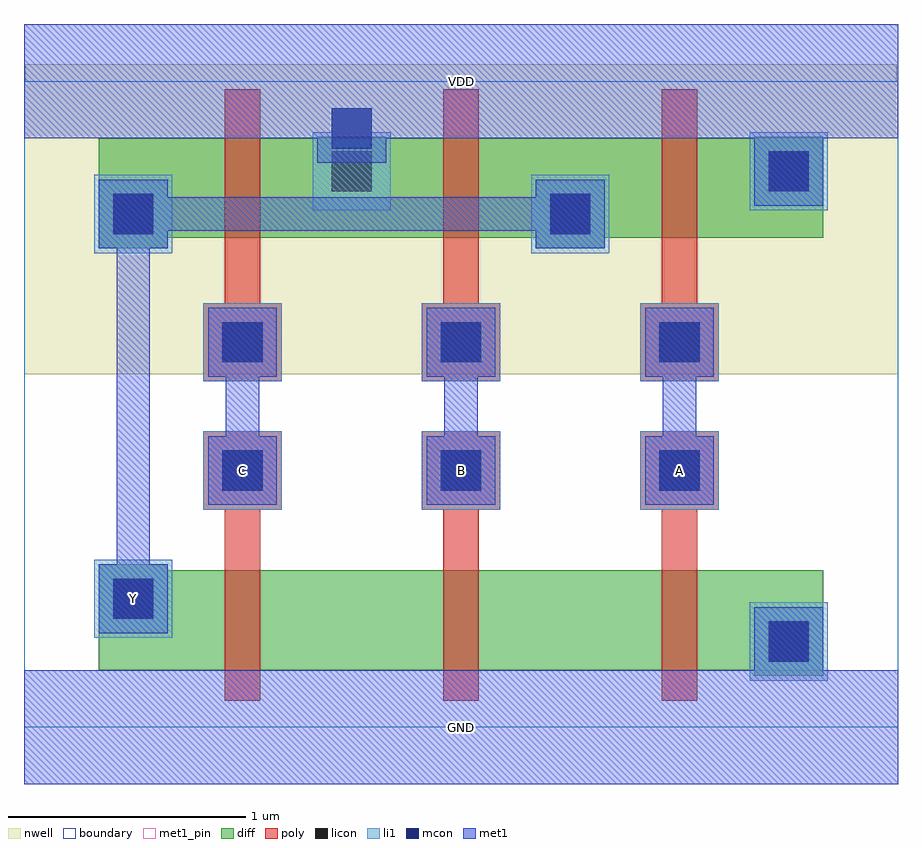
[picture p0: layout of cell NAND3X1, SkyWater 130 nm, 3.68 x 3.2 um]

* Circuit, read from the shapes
.subckt NAND3X1 A B C GND VDD Y
XM1 n1 C Y VSUBS sky130_fd_pr__nfet_01v8 w=0.42 l=0.15
XM2 n2 B n1 VSUBS sky130_fd_pr__nfet_01v8 w=0.42 l=0.15
XM3 GND A n2 VSUBS sky130_fd_pr__nfet_01v8 w=0.42 l=0.15
XM4 VDD C Y n3 sky130_fd_pr__pfet_01v8 w=0.42 l=0.15
XM5 Y B VDD n3 sky130_fd_pr__pfet_01v8 w=0.42 l=0.15
XM6 VDD A Y n3 sky130_fd_pr__pfet_01v8 w=0.42 l=0.15
.ends

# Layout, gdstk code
import gdstk
lib = gdstk.Library(unit=1e-6, precision=1e-09)
def R(c, l, rs):  # rectangles x0, y0, x1, y1
    for r in rs: c.add(gdstk.rectangle(r[:2], r[2:], *l))
def A(c, l, x, y, w, h, nx, ny, dx, dy):  # array of equal rectangles
    R(c, l, [(x+i*dx, y+j*dy, x+i*dx+w, y+j*dy+h) for i in range(nx) for j in range(ny)])
def P(c, l, *ps):  # polygons
    for p in ps: c.add(gdstk.Polygon(p, *l))
nwell = (64, 20)
diff = (65, 20)
poly = (66, 20)
licon = (66, 44)
li1 = (67, 20)
mcon = (67, 44)
met1_pin = (68, 16)
met1 = (68, 20)
boundary = (235, 4)

nand3x1 = lib.new_cell('NAND3X1')
P(nand3x1, nwell, [(0,1.485),(0,2.72),(0.005,2.72),(0.005,2.79),(3.675,2.79),(3.675,2.72),(3.68,2.72),(3.68,1.485)])
P(nand3x1, diff, [(3.075,0.215),(3.075,0.24),(0.315,0.24),(0.315,0.685),(0.605,0.685),(0.605,0.66),(3.365,0.66),(3.365,0.215)],
  [(0.315,2.015),(0.315,2.48),(1.235,2.48),(1.235,2.485),(1.525,2.485),(1.525,2.48),(3.075,2.48),(3.075,2.485),(3.365,2.485),(3.365,2.06),(2.445,2.06),(2.445,2.015),(2.155,2.015),(2.155,2.06),(0.605,2.06),(0.605,2.015)])
P(nand3x1, poly, [(0.845,0.11),(0.845,0.915),(0.755,0.915),(0.755,1.245),(1.085,1.245),(1.085,0.915),(0.995,0.915),(0.995,0.11)],
  [(1.765,0.11),(1.765,0.915),(1.675,0.915),(1.675,1.245),(2.005,1.245),(2.005,0.915),(1.915,0.915),(1.915,0.11)],
  [(2.685,0.11),(2.685,0.915),(2.595,0.915),(2.595,1.245),(2.925,1.245),(2.925,0.915),(2.835,0.915),(2.835,0.11)],
  [(0.755,1.455),(0.755,1.785),(0.845,1.785),(0.845,2.685),(0.995,2.685),(0.995,1.785),(1.085,1.785),(1.085,1.455)],
  [(1.675,1.455),(1.675,1.785),(1.765,1.785),(1.765,2.685),(1.915,2.685),(1.915,1.785),(2.005,1.785),(2.005,1.455)],
  [(2.595,1.455),(2.595,1.785),(2.685,1.785),(2.685,2.685),(2.835,2.685),(2.835,1.785),(2.925,1.785),(2.925,1.455)])
A(nand3x1, licon, 0.835, 0.995, 0.17, 0.17, 3, 2, 0.92, 0.54)
R(nand3x1, licon, [(3.135,0.275,3.305,0.445), (0.375,0.455,0.545,0.625), (0.375,2.075,0.545,2.245), (2.215,2.075,2.385,2.245), (1.295,2.255,1.465,2.425), (3.135,2.255,3.305,2.425)])
A(nand3x1, li1, 0.755, 0.915, 0.33, 0.33, 3, 2, 0.92, 0.54)
R(nand3x1, li1, [(3.055,0.195,3.385,0.525), (0.295,0.375,0.625,0.705), (0.295,1.995,0.625,2.325), (2.135,1.995,2.465,2.325), (3.055,2.175,3.385,2.505)])
P(nand3x1, li1, [(1.215,2.175),(1.215,2.505),(1.295,2.505),(1.295,2.605),(1.465,2.605),(1.465,2.505),(1.545,2.505),(1.545,2.175)])
A(nand3x1, mcon, 0.835, 0.995, 0.17, 0.17, 3, 2, 0.92, 0.54)
R(nand3x1, mcon, [(3.135,0.275,3.305,0.445), (0.375,0.455,0.545,0.625), (0.375,2.075,0.545,2.245), (2.215,2.075,2.385,2.245), (3.135,2.255,3.305,2.425), (1.295,2.435,1.465,2.605)])
R(nand3x1, met1_pin, [(0,-0.24,3.68,0.24), (0,2.48,3.68,2.96)])
P(nand3x1, met1_pin, [(0.315,0.395),(0.315,0.685),(0.39,0.685),(0.39,2.015),(0.315,2.015),(0.315,2.305),(0.605,2.305),(0.605,2.23),(2.155,2.23),(2.155,2.305),(2.445,2.305),(2.445,2.015),(2.155,2.015),(2.155,2.09),(0.605,2.09),(0.605,2.015),(0.53,2.015),(0.53,0.685),(0.605,0.685),(0.605,0.395)],
  [(1.695,0.935),(1.695,1.225),(1.77,1.225),(1.77,1.475),(1.695,1.475),(1.695,1.765),(1.985,1.765),(1.985,1.475),(1.91,1.475),(1.91,1.225),(1.985,1.225),(1.985,0.935)],
  [(2.615,0.935),(2.615,1.225),(2.69,1.225),(2.69,1.475),(2.615,1.475),(2.615,1.765),(2.905,1.765),(2.905,1.475),(2.83,1.475),(2.83,1.225),(2.905,1.225),(2.905,0.935)],
  [(0.775,0.935),(0.775,1.225),(0.85,1.225),(0.85,1.475),(0.775,1.475),(0.775,1.765),(1.065,1.765),(1.065,1.475),(0.99,1.475),(0.99,1.225),(1.065,1.225),(1.065,0.935)])
P(nand3x1, met1, [(0,-0.24),(0,0.24),(3.075,0.24),(3.075,0.505),(3.365,0.505),(3.365,0.24),(3.68,0.24),(3.68,-0.24)],
  [(0.775,0.935),(0.775,1.225),(0.85,1.225),(0.85,1.475),(0.775,1.475),(0.775,1.765),(1.065,1.765),(1.065,1.475),(0.99,1.475),(0.99,1.225),(1.065,1.225),(1.065,0.935)],
  [(1.695,0.935),(1.695,1.225),(1.77,1.225),(1.77,1.475),(1.695,1.475),(1.695,1.765),(1.985,1.765),(1.985,1.475),(1.91,1.475),(1.91,1.225),(1.985,1.225),(1.985,0.935)],
  [(2.615,0.935),(2.615,1.225),(2.69,1.225),(2.69,1.475),(2.615,1.475),(2.615,1.765),(2.905,1.765),(2.905,1.475),(2.83,1.475),(2.83,1.225),(2.905,1.225),(2.905,0.935)],
  [(0.315,0.395),(0.315,0.685),(0.39,0.685),(0.39,2.015),(0.315,2.015),(0.315,2.305),(0.605,2.305),(0.605,2.23),(2.155,2.23),(2.155,2.305),(2.445,2.305),(2.445,2.015),(2.155,2.015),(2.155,2.09),(0.605,2.09),(0.605,2.015),(0.53,2.015),(0.53,0.685),(0.605,0.685),(0.605,0.395)],
  [(3.075,2.195),(3.075,2.48),(1.525,2.48),(1.525,2.375),(1.235,2.375),(1.235,2.48),(0,2.48),(0,2.96),(3.68,2.96),(3.68,2.48),(3.365,2.48),(3.365,2.195)])
R(nand3x1, boundary, [(0,0,3.68,2.72)])
nand3x1.add(gdstk.Label('Y', (0.46,0.54), layer=68, texttype=5))
nand3x1.add(gdstk.Label('B', (1.84,1.08), layer=68, texttype=5))
nand3x1.add(gdstk.Label('A', (2.76,1.08), layer=68, texttype=5))
nand3x1.add(gdstk.Label('C', (0.92,1.08), layer=68, texttype=5))
nand3x1.add(gdstk.Label('GND', (1.84,0), layer=68, texttype=5))
nand3x1.add(gdstk.Label('VDD', (1.84,2.72), layer=68, texttype=5))

lib.write_gds('NAND3X1.gds')
